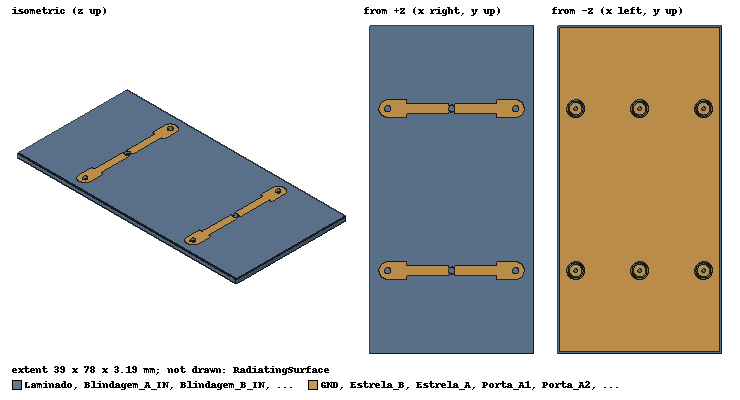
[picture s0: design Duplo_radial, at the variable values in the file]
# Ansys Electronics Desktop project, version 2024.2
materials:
  vacuum: permittivity=1
  ZYF265D: permittivity=2.65 dielectric_loss_tangent=0.0019
  SAC305: permeability=1 conductivity=7575758
  PTFE_UT141: permittivity=2.036 dielectric_loss_tangent=0.0002
  copper: permeability=0.999991 conductivity=58000000

design Duplo_radial (HFSS, HFSS Hybrid Modal Network, model units mm)
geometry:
  Laminado [ZYF265D] = box(corner=(-19.5mm, -39mm, 0mm), size=(39mm, 78mm, 1.52mm))
  GND = polyline(z=0mm, xy in mm: (-18.98, -38.48) (18.98, -38.48) (18.98, 38.48) (-18.98, 38.48) (-18.98, -38.48), closed, covered)
  Estrela_B = polyline(z=1.52mm, xy in mm: (-10.797, 21.3245) (-10.797, 20.405) (-0.6, 20.405) (-0.6, 19.86522572) (-0.52353483, 19.93228387) (-0.43, 19.99478185) (-0.32910775, 20.0445364) (-0.22258438, 20.08069621) (-0.11225253, 20.10264258) (0, 20.11) (0.11225253, 20.10264258) (0.22258438, 20.08069621) (0.32910775, 20.0445364) (0.43, 19.99478185) (0.52353483, 19.93228387) (0.6, 19.86522572) (0.6, 20.405) (10.797, 20.405) (10.797, 21.3245) (15.2, 21.3245) (15.47077659, 21.30675236) (15.73692011, 21.25381313) (15.99387678, 21.16658809) (16.23725, 21.0465697) (16.46287558, 20.8958115) (16.66689302, 20.71689302) (16.8458115, 20.51287558) (16.9965697, 20.28725) (17.11658809, 20.04387678) (17.20381313, 19.78692011) (17.25675236, 19.52077659) (17.2745, 19.25) (17.25675236, 18.97922341) (17.20381313, 18.71307989) (17.11658809, 18.45612322) (16.9965697, 18.21275) (16.8458115, 17.98712442) (16.66689302, 17.78310698) (16.46287558, 17.6041885) (16.23725, 17.4534303) (15.99387678, 17.33341191) (15.73692011, 17.24618687) (15.47077659, 17.19324764) (15.2, 17.1755) (10.797, 17.1755) (10.797, 18.095) (0.6, 18.095) (0.6, 18.63477428) (0.52353483, 18.56771613) (0.43, 18.50521815) (0.32910775, 18.4554636) (0.22258438, 18.41930379) (0.11225253, 18.39735742) (0, 18.39) (-0.11225253, 18.39735742) (-0.22258438, 18.41930379) (-0.32910775, 18.4554636) (-0.43, 18.50521815) (-0.52353483, 18.56771613) (-0.6, 18.63477428) (-0.6, 18.095) (-10.797, 18.095) (-10.797, 17.1755) (-15.2, 17.1755) (-15.47077659, 17.19324764) (-15.73692011, 17.24618687) (-15.99387678, 17.33341191) (-16.23725, 17.4534303) (-16.46287558, 17.6041885) (-16.66689302, 17.78310698) (-16.8458115, 17.98712442) (-16.9965697, 18.21275) (-17.11658809, 18.45612322) (-17.20381313, 18.71307989) (-17.25675236, 18.97922341) (-17.2745, 19.25) (-17.25675236, 19.52077659) (-17.20381313, 19.78692011) (-17.11658809, 20.04387678) (-16.9965697, 20.28725) (-16.8458115, 20.51287558) (-16.66689302, 20.71689302) (-16.46287558, 20.8958115) (-16.23725, 21.0465697) (-15.99387678, 21.16658809) (-15.73692011, 21.25381313) (-15.47077659, 21.30675236) (-15.2, 21.3245) (-15.2, 21.3245) (-10.797, 21.3245), closed, covered)
  Estrela_A = polyline(z=1.52mm, xy in mm: (-15.47077659, -21.30675236) (-15.73692011, -21.25381313) (-15.99387678, -21.16658809) (-16.23725, -21.0465697) (-16.46287558, -20.8958115) (-16.66689302, -20.71689302) (-16.8458115, -20.51287558) (-16.9965697, -20.28725) (-17.11658809, -20.04387678) (-17.20381313, -19.78692011) (-17.25675236, -19.52077659) (-17.2745, -19.25) (-17.25675236, -18.97922341) (-17.20381313, -18.71307989) (-17.11658809, -18.45612322) (-16.9965697, -18.21275) (-16.8458115, -17.98712442) (-16.66689302, -17.78310698) (-16.46287558, -17.6041885) (-16.23725, -17.4534303) (-15.99387678, -17.33341191) (-15.73692011, -17.24618687) (-15.47077659, -17.19324764) (-15.2, -17.1755) (-10.797, -17.1755) (-10.797, -18.095) (-0.6, -18.095) (-0.6, -18.63477428) (-0.52353483, -18.56771613) (-0.43, -18.50521815) (-0.32910775, -18.4554636) (-0.22258438, -18.41930379) (-0.11225253, -18.39735742) (0, -18.39) (0.11225253, -18.39735742) (0.22258438, -18.41930379) (0.32910775, -18.4554636) (0.43, -18.50521815) (0.52353483, -18.56771613) (0.6, -18.63477428) (0.6, -18.095) (10.797, -18.095) (10.797, -17.1755) (15.2, -17.1755) (15.47077659, -17.19324764) (15.73692011, -17.24618687) (15.99387678, -17.33341191) (16.23725, -17.4534303) (16.46287558, -17.6041885) (16.66689302, -17.78310698) (16.8458115, -17.98712442) (16.9965697, -18.21275) (17.11658809, -18.45612322) (17.20381313, -18.71307989) (17.25675236, -18.97922341) (17.2745, -19.25) (17.25675236, -19.52077659) (17.20381313, -19.78692011) (17.11658809, -20.04387678) (16.9965697, -20.28725) (16.8458115, -20.51287558) (16.66689302, -20.71689302) (16.46287558, -20.8958115) (16.23725, -21.0465697) (15.99387678, -21.16658809) (15.73692011, -21.25381313) (15.47077659, -21.30675236) (15.2, -21.3245) (10.797, -21.3245) (10.797, -20.405) (0.6, -20.405) (0.6, -19.86522572) (0.52353483, -19.93228387) (0.43, -19.99478185) (0.32910775, -20.0445364) (0.22258438, -20.08069621) (0.11225253, -20.10264258) (0, -20.11) (-0.11225253, -20.10264258) (-0.22258438, -20.08069621) (-0.32910775, -20.0445364) (-0.43, -19.99478185) (-0.52353483, -19.93228387) (-0.6, -19.86522572) (-0.6, -20.405) (-10.797, -20.405) (-10.797, -21.3245) (-15.2, -21.3245) (-15.2, -21.3245) (-15.47077659, -21.30675236), closed, covered)
  Abertura_A_IN = circle(normal=Z, centre=(0mm, -19.25mm, 0mm), radius=1.515mm, segments=24)
  Pino_A_IN [copper] = cylinder(axis=Z, base_centre=(0mm, -19.25mm, 0mm), radius=0.525mm, height=1.52mm, segments=24)
  Anel_A_IN = circle(normal=Z, centre=(0mm, -19.25mm, 0mm), radius=0.73mm, segments=24)
  Blindagem_A_IN [copper] = cylinder(axis=Z, base_centre=(0mm, -19.25mm, -1.5mm), radius=1.7905mm, height=1.5mm, segments=24)
  PTFE_A_IN [PTFE_UT141] = cylinder(axis=Z, base_centre=(0mm, -19.25mm, -1.5mm), radius=1.515mm, height=1.5mm, segments=24)
  PTFE_A_IN_1 = PTFE_A_IN.copy()
  Blindagem_A_IN.subtract(PTFE_A_IN_1)
  Central_A_IN [copper] = cylinder(axis=Z, base_centre=(0mm, -19.25mm, -1.5mm), radius=0.45975mm, height=1.5mm, segments=24)
  Central_A_IN_1 = Central_A_IN.copy()
  PTFE_A_IN.subtract(Central_A_IN_1)
  Solda_ext_A_IN [SAC305] = cylinder(axis=Z, base_centre=(0mm, -19.25mm, -0.18mm), radius=2.13mm, height=0.18mm, segments=24)
  Recorte_ext_A_IN = cylinder(axis=Z, base_centre=(0mm, -19.25mm, -0.18mm), radius=1.7905mm, height=0.18mm, segments=24)
  Solda_ext_A_IN.subtract(Recorte_ext_A_IN)
  Solda_top_A_IN [SAC305] = cylinder(axis=Z, base_centre=(0mm, -19.25mm, 1.52mm), radius=0.74mm, height=0.17mm, segments=24)
  Abertura_A1 = circle(normal=Z, centre=(-15.2mm, -19.25mm, 0mm), radius=1.515mm, segments=24)
  Pino_A1 [copper] = cylinder(axis=Z, base_centre=(-15.2mm, -19.25mm, 0mm), radius=0.525mm, height=1.52mm, segments=24)
  Anel_A1 = circle(normal=Z, centre=(-15.2mm, -19.25mm, 0mm), radius=0.73mm, segments=24)
  Blindagem_A1 [copper] = cylinder(axis=Z, base_centre=(-15.2mm, -19.25mm, -1.5mm), radius=1.7905mm, height=1.5mm, segments=24)
  PTFE_A1 [PTFE_UT141] = cylinder(axis=Z, base_centre=(-15.2mm, -19.25mm, -1.5mm), radius=1.515mm, height=1.5mm, segments=24)
  PTFE_A1_1 = PTFE_A1.copy()
  Blindagem_A1.subtract(PTFE_A1_1)
  Central_A1 [copper] = cylinder(axis=Z, base_centre=(-15.2mm, -19.25mm, -1.5mm), radius=0.45975mm, height=1.5mm, segments=24)
  Central_A1_1 = Central_A1.copy()
  PTFE_A1.subtract(Central_A1_1)
  Solda_ext_A1 [SAC305] = cylinder(axis=Z, base_centre=(-15.2mm, -19.25mm, -0.18mm), radius=2.13mm, height=0.18mm, segments=24)
  Recorte_ext_A1 = cylinder(axis=Z, base_centre=(-15.2mm, -19.25mm, -0.18mm), radius=1.7905mm, height=0.18mm, segments=24)
  Solda_ext_A1.subtract(Recorte_ext_A1)
  Solda_top_A1 [SAC305] = cylinder(axis=Z, base_centre=(-15.2mm, -19.25mm, 1.52mm), radius=0.74mm, height=0.17mm, segments=24)
  Abertura_A2 = circle(normal=Z, centre=(15.2mm, -19.25mm, 0mm), radius=1.515mm, segments=24)
  Pino_A2 [copper] = cylinder(axis=Z, base_centre=(15.2mm, -19.25mm, 0mm), radius=0.525mm, height=1.52mm, segments=24)
  Anel_A2 = circle(normal=Z, centre=(15.2mm, -19.25mm, 0mm), radius=0.73mm, segments=24)
  Blindagem_A2 [copper] = cylinder(axis=Z, base_centre=(15.2mm, -19.25mm, -1.5mm), radius=1.7905mm, height=1.5mm, segments=24)
  PTFE_A2 [PTFE_UT141] = cylinder(axis=Z, base_centre=(15.2mm, -19.25mm, -1.5mm), radius=1.515mm, height=1.5mm, segments=24)
  PTFE_A2_1 = PTFE_A2.copy()
  Blindagem_A2.subtract(PTFE_A2_1)
  Central_A2 [copper] = cylinder(axis=Z, base_centre=(15.2mm, -19.25mm, -1.5mm), radius=0.45975mm, height=1.5mm, segments=24)
  Central_A2_1 = Central_A2.copy()
  PTFE_A2.subtract(Central_A2_1)
  Solda_ext_A2 [SAC305] = cylinder(axis=Z, base_centre=(15.2mm, -19.25mm, -0.18mm), radius=2.13mm, height=0.18mm, segments=24)
  Recorte_ext_A2 = cylinder(axis=Z, base_centre=(15.2mm, -19.25mm, -0.18mm), radius=1.7905mm, height=0.18mm, segments=24)
  Solda_ext_A2.subtract(Recorte_ext_A2)
  Solda_top_A2 [SAC305] = cylinder(axis=Z, base_centre=(15.2mm, -19.25mm, 1.52mm), radius=0.74mm, height=0.17mm, segments=24)
  Abertura_B_IN = circle(normal=Z, centre=(0mm, 19.25mm, 0mm), radius=1.515mm, segments=24)
  Pino_B_IN [copper] = cylinder(axis=Z, base_centre=(0mm, 19.25mm, 0mm), radius=0.525mm, height=1.52mm, segments=24)
  Anel_B_IN = circle(normal=Z, centre=(0mm, 19.25mm, 0mm), radius=0.73mm, segments=24)
  Blindagem_B_IN [copper] = cylinder(axis=Z, base_centre=(0mm, 19.25mm, -1.5mm), radius=1.7905mm, height=1.5mm, segments=24)
  PTFE_B_IN [PTFE_UT141] = cylinder(axis=Z, base_centre=(0mm, 19.25mm, -1.5mm), radius=1.515mm, height=1.5mm, segments=24)
  PTFE_B_IN_1 = PTFE_B_IN.copy()
  Blindagem_B_IN.subtract(PTFE_B_IN_1)
  Central_B_IN [copper] = cylinder(axis=Z, base_centre=(0mm, 19.25mm, -1.5mm), radius=0.45975mm, height=1.5mm, segments=24)
  Central_B_IN_1 = Central_B_IN.copy()
  PTFE_B_IN.subtract(Central_B_IN_1)
  Solda_ext_B_IN [SAC305] = cylinder(axis=Z, base_centre=(0mm, 19.25mm, -0.18mm), radius=2.13mm, height=0.18mm, segments=24)
  Recorte_ext_B_IN = cylinder(axis=Z, base_centre=(0mm, 19.25mm, -0.18mm), radius=1.7905mm, height=0.18mm, segments=24)
  Solda_ext_B_IN.subtract(Recorte_ext_B_IN)
  Solda_top_B_IN [SAC305] = cylinder(axis=Z, base_centre=(0mm, 19.25mm, 1.52mm), radius=0.74mm, height=0.17mm, segments=24)
  Abertura_B1 = circle(normal=Z, centre=(-15.2mm, 19.25mm, 0mm), radius=1.515mm, segments=24)
  Pino_B1 [copper] = cylinder(axis=Z, base_centre=(-15.2mm, 19.25mm, 0mm), radius=0.525mm, height=1.52mm, segments=24)
  Anel_B1 = circle(normal=Z, centre=(-15.2mm, 19.25mm, 0mm), radius=0.73mm, segments=24)
  Blindagem_B1 [copper] = cylinder(axis=Z, base_centre=(-15.2mm, 19.25mm, -1.5mm), radius=1.7905mm, height=1.5mm, segments=24)
  PTFE_B1 [PTFE_UT141] = cylinder(axis=Z, base_centre=(-15.2mm, 19.25mm, -1.5mm), radius=1.515mm, height=1.5mm, segments=24)
  PTFE_B1_1 = PTFE_B1.copy()
  Blindagem_B1.subtract(PTFE_B1_1)
  Central_B1 [copper] = cylinder(axis=Z, base_centre=(-15.2mm, 19.25mm, -1.5mm), radius=0.45975mm, height=1.5mm, segments=24)
  Central_B1_1 = Central_B1.copy()
  PTFE_B1.subtract(Central_B1_1)
  Solda_ext_B1 [SAC305] = cylinder(axis=Z, base_centre=(-15.2mm, 19.25mm, -0.18mm), radius=2.13mm, height=0.18mm, segments=24)
  Recorte_ext_B1 = cylinder(axis=Z, base_centre=(-15.2mm, 19.25mm, -0.18mm), radius=1.7905mm, height=0.18mm, segments=24)
  Solda_ext_B1.subtract(Recorte_ext_B1)
  Solda_top_B1 [SAC305] = cylinder(axis=Z, base_centre=(-15.2mm, 19.25mm, 1.52mm), radius=0.74mm, height=0.17mm, segments=24)
  Abertura_B2 = circle(normal=Z, centre=(15.2mm, 19.25mm, 0mm), radius=1.515mm, segments=24)
  Pino_B2 [copper] = cylinder(axis=Z, base_centre=(15.2mm, 19.25mm, 0mm), radius=0.525mm, height=1.52mm, segments=24)
  Anel_B2 = circle(normal=Z, centre=(15.2mm, 19.25mm, 0mm), radius=0.73mm, segments=24)
  Blindagem_B2 [copper] = cylinder(axis=Z, base_centre=(15.2mm, 19.25mm, -1.5mm), radius=1.7905mm, height=1.5mm, segments=24)
  PTFE_B2 [PTFE_UT141] = cylinder(axis=Z, base_centre=(15.2mm, 19.25mm, -1.5mm), radius=1.515mm, height=1.5mm, segments=24)
  PTFE_B2_1 = PTFE_B2.copy()
  Blindagem_B2.subtract(PTFE_B2_1)
  Central_B2 [copper] = cylinder(axis=Z, base_centre=(15.2mm, 19.25mm, -1.5mm), radius=0.45975mm, height=1.5mm, segments=24)
  Central_B2_1 = Central_B2.copy()
  PTFE_B2.subtract(Central_B2_1)
  Solda_ext_B2 [SAC305] = cylinder(axis=Z, base_centre=(15.2mm, 19.25mm, -0.18mm), radius=2.13mm, height=0.18mm, segments=24)
  Recorte_ext_B2 = cylinder(axis=Z, base_centre=(15.2mm, 19.25mm, -0.18mm), radius=1.7905mm, height=0.18mm, segments=24)
  Solda_ext_B2.subtract(Recorte_ext_B2)
  Solda_top_B2 [SAC305] = cylinder(axis=Z, base_centre=(15.2mm, 19.25mm, 1.52mm), radius=0.74mm, height=0.17mm, segments=24)
  GND.subtract(Abertura_A_IN, Abertura_A1, Abertura_A2, Abertura_B_IN, Abertura_B1, Abertura_B2)
  Pino_A_IN_1 = Pino_A_IN.copy()
  Pino_A1_1 = Pino_A1.copy()
  Pino_A2_1 = Pino_A2.copy()
  Pino_B_IN_1 = Pino_B_IN.copy()
  Pino_B1_1 = Pino_B1.copy()
  Pino_B2_1 = Pino_B2.copy()
  Laminado.subtract(Pino_A_IN_1, Pino_A1_1, Pino_A2_1, Pino_B_IN_1, Pino_B1_1, Pino_B2_1)
  Porta_A_IN = circle(normal=Z, centre=(0mm, -19.25mm, -1.5mm), radius=1.515mm, segments=24)
  Buraco_A_IN = circle(normal=Z, centre=(0mm, -19.25mm, -1.5mm), radius=0.45975mm, segments=24)
  Porta_A_IN.subtract(Buraco_A_IN)
  Porta_A1 = circle(normal=Z, centre=(-15.2mm, -19.25mm, -1.5mm), radius=1.515mm, segments=24)
  Buraco_A1 = circle(normal=Z, centre=(-15.2mm, -19.25mm, -1.5mm), radius=0.45975mm, segments=24)
  Porta_A1.subtract(Buraco_A1)
  Porta_A2 = circle(normal=Z, centre=(15.2mm, -19.25mm, -1.5mm), radius=1.515mm, segments=24)
  Buraco_A2 = circle(normal=Z, centre=(15.2mm, -19.25mm, -1.5mm), radius=0.45975mm, segments=24)
  Porta_A2.subtract(Buraco_A2)
  Porta_B_IN = circle(normal=Z, centre=(0mm, 19.25mm, -1.5mm), radius=1.515mm, segments=24)
  Buraco_B_IN = circle(normal=Z, centre=(0mm, 19.25mm, -1.5mm), radius=0.45975mm, segments=24)
  Porta_B_IN.subtract(Buraco_B_IN)
  Porta_B1 = circle(normal=Z, centre=(-15.2mm, 19.25mm, -1.5mm), radius=1.515mm, segments=24)
  Buraco_B1 = circle(normal=Z, centre=(-15.2mm, 19.25mm, -1.5mm), radius=0.45975mm, segments=24)
  Porta_B1.subtract(Buraco_B1)
  Porta_B2 = circle(normal=Z, centre=(15.2mm, 19.25mm, -1.5mm), radius=1.515mm, segments=24)
  Buraco_B2 = circle(normal=Z, centre=(15.2mm, 19.25mm, -1.5mm), radius=0.45975mm, segments=24)
  Porta_B2.subtract(Buraco_B2)
  RadiatingSurface [vacuum] = region(absolute_offset=19.646365mm on all sides)
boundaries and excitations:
  Cobre_35um: Finite Conductivity Objects=[GND, Estrela_B, Estrela_A, Anel_A_IN, Anel_A1, Anel_A2, Anel_B_IN, Anel_B1, Anel_B2] UseMaterial Material=copper Thickness=0.035mm Roughness=0.5um IsInternal
  Open1: Radiation Objects=RadiatingSurface
  A_IN: Lumped Port Objects=Porta_A_IN LumpedPortType=Modal Modes{Mode1{IntLine{(0.45975, -19.25, -1.5) -> (1.515, -19.25, -1.5)} CharImp=Zpi RenormImp=50ohm}} Impedance=50ohm
  A1: Lumped Port Objects=Porta_A1 LumpedPortType=Modal Modes{Mode1{IntLine{(-14.74025, -19.25, -1.5) -> (-13.685, -19.25, -1.5)} CharImp=Zpi RenormImp=50ohm}} Impedance=50ohm
  A2: Lumped Port Objects=Porta_A2 LumpedPortType=Modal Modes{Mode1{IntLine{(15.65975, -19.25, -1.5) -> (16.715, -19.25, -1.5)} CharImp=Zpi RenormImp=50ohm}} Impedance=50ohm
  B_IN: Lumped Port Objects=Porta_B_IN LumpedPortType=Modal Modes{Mode1{IntLine{(0.45975, 19.25, -1.5) -> (1.515, 19.25, -1.5)} CharImp=Zpi RenormImp=50ohm}} Impedance=50ohm
  B1: Lumped Port Objects=Porta_B1 LumpedPortType=Modal Modes{Mode1{IntLine{(-14.74025, 19.25, -1.5) -> (-13.685, 19.25, -1.5)} CharImp=Zpi RenormImp=50ohm}} Impedance=50ohm
  B2: Lumped Port Objects=Porta_B2 LumpedPortType=Modal Modes{Mode1{IntLine{(15.65975, 19.25, -1.5) -> (16.715, 19.25, -1.5)} CharImp=Zpi RenormImp=50ohm}} Impedance=50ohm
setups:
  Divisor: HfssDriven Frequency=5.17GHz MaxDeltaS=0.012 MaximumPasses=16 MinimumPasses=3 MinimumConvergedPasses=2 PercentRefinement=24 BasisOrder=1 PortAccuracy=2 DrivenSolverType="Direct Solver"
    sweep Banda: 5090MHz to 5250MHz step 10MHz; Type=Discrete
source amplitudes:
  A_IN:1: 1W 0deg
  A1:1, A2:1, B_IN:1, B1:1, B2:1: 0W 0deg
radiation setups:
  3D: Infinite Sphere Theta=0deg..180deg step 2deg Phi=-180deg..180deg step 2deg
  Elevation: Infinite Sphere Theta=-180deg..180deg step 1deg Phi=0deg..90deg step 90deg
  Azimuth: Infinite Sphere Theta=90deg..90deg step 0deg Phi=-180deg..180deg step 1deg
